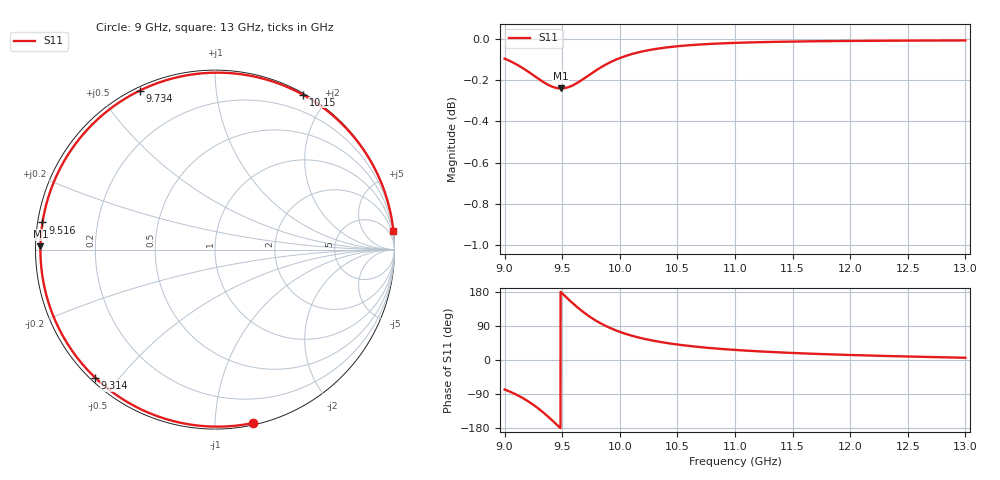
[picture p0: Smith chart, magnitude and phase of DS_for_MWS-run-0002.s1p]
! TOUCHSTONE file generated by CST DESIGN STUDIO
! Date and time: Tue Feb  4 13:00:56 2025
! Project name: C:\Work\MatlabApps\UnitCellOptimizationMatlab\CST\unitcell.cst
! Tree item: Tasks\Sweep1\SPara1\S-Parameters
! Header version: 2024
! Port assignment regex: !\s*Touchstone port\s*([0-9]+)\s*=\s*(CST MWS port|CST DES external port|CST DES block port)\s*(.+)\s* \(\"(.*)\"\)(\s*mode\s*([0-9]+))?.*
! Touchstone port assignment:
! Touchstone port 1 = CST DES external port 1 ("")
# GHz S MA R 50
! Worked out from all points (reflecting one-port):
!   4001 points, 9 GHz to 13 GHz, reference 50 ohm
!   lowest |S11| = -0.2 dB at 9.489 GHz (marker M1), VSWR 72.52, Z = 0.69 + j0.489 ohm
!   phase of S11 starts at -78 deg and turns -276 deg over the sweep
!   S11 on the Smith chart (normalised r, x): 9 GHz: 0.01, -1.24; 9.314 GHz: 0.01, -0.43; 9.516 GHz: 0.01, +0.08; 9.734 GHz: 0.01, +0.63; 10.15 GHz: 0.01, +1.72; 13 GHz: 0, +19
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9  0.9891 -77.8
9.08  0.9868 -88.2
9.179  0.9831 -104.2
9.249  0.98 -118.1
9.314  0.9772 -133.1
9.36  0.9754 -144.8
9.409  0.9738 -158.1
9.45  0.9731 -169.8
9.489  0.9728 178.9
9.5  0.9728 175.7
9.516  0.9729 171.1
9.569  0.9738 156.0
9.629  0.9757 139.9
9.681  0.9778 127.1
9.734  0.9801 115.3
9.788  0.9824 104.7
9.848  0.9848 94.4
9.923  0.9873 83.5
10  0.9895 74.3
10.15  0.9925 60.4
10.309  0.9945 49.9
10.5  0.996 40.8
10.722  0.9971 33.3
11  0.9979 26.6
11.5  0.9987 18.6
12  0.999 13.2
12.5  0.9992 9.2
13  0.9993 5.9
